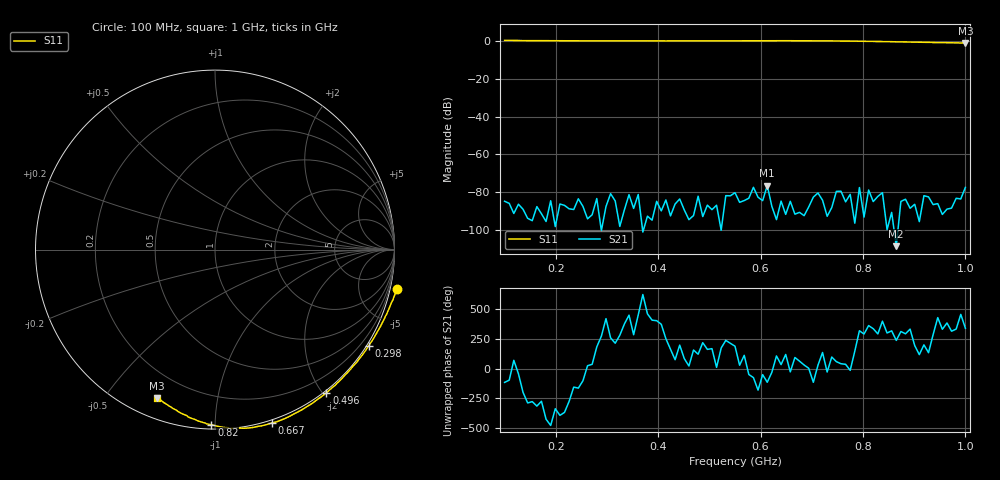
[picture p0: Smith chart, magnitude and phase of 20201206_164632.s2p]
# HZ S RI R 50
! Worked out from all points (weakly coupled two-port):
!   101 points, 100 MHz to 1 GHz, reference 50 ohm
!   highest |S21| = -76.50 dB at 613 MHz (marker M1); lowest = -108.6 dB at 865 MHz (marker M2)
!   lowest |S11| = -1.0 dB at 1 GHz (marker M3), VSWR 16.63, Z = 4.4 - j34 ohm
!   |S11| at or under -10 dB: nowhere
!   S12 and S22 are empty: the file has one direction only
!   S11 on the Smith chart (normalised r, x): 100 MHz: -1.51, -9.11; 298 MHz: -0.07, -3.49; 496 MHz: -0.03, -2.05; 667 MHz: -0.02, -1.38; 820 MHz: 0.02, -0.98; 1 GHz: 0.09, -0.68
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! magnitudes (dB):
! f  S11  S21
! 100 MHz  0.3  -84.8
! 253 MHz  0.1  -87.5
! 298 MHz  0.1  -87.6
! 406 MHz  0.1  -89.9
! 496 MHz  0.1  -86.9
! 550 MHz  0.1  -80.2
! 577 MHz  0.1  -83.2
! 586 MHz  0.1  -77.4
! 595 MHz  0.1  -82.7
! 604 MHz  0.1  -84.5
! 613 MHz  0.1  -76.5
! 622 MHz  0.2  -87.5
! 667 MHz  0.1  -91.6
! 703 MHz  0.1  -82.6
! 784 MHz  -0.1  -96.4
! 793 MHz  -0.1  -77.5
! 802 MHz  -0.1  -93.2
! 820 MHz  -0.2  -85.0
! 856 MHz  -0.4  -90.7
! 865 MHz  -0.4  -108.6
! 991 MHz  -1.0  -83.6
! 1 GHz  -1.0  -77.5
